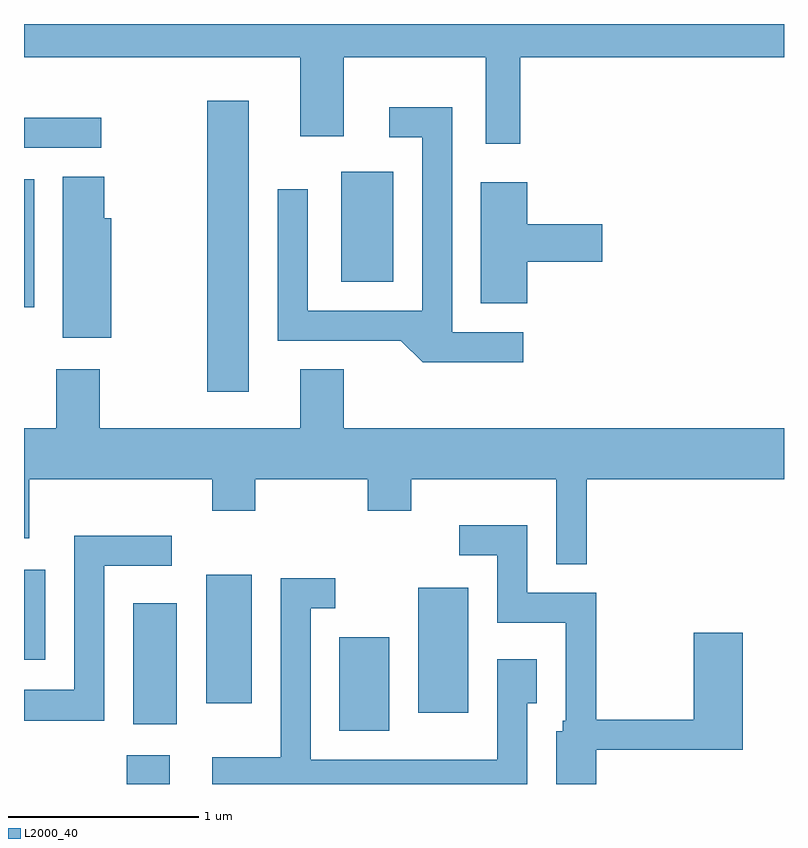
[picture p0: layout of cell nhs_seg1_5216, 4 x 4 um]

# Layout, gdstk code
import gdstk
lib = gdstk.Library(unit=1e-6, precision=1e-09)
def R(c, l, rs):  # rectangles x0, y0, x1, y1
    for r in rs: c.add(gdstk.rectangle(r[:2], r[2:], *l))
def P(c, l, *ps):  # polygons
    for p in ps: c.add(gdstk.Polygon(p, *l))
L2000_40 = (2000, 40)

nhs_seg1_5216 = lib.new_cell('nhs_seg1_5216')
R(nhs_seg1_5216, L2000_40, [(342.151,935.712,342.379,935.864), (343.271,935.991,343.534,936.484), (342.186,936.026,342.414,936.664), (343.686,936.086,343.949,936.744), (342.571,936.136,342.809,936.814), (341.611,936.366,341.724,936.839), (342.576,937.776,342.794,939.309), (341.611,938.221,341.664,938.894), (343.281,938.356,343.554,938.934), (341.611,939.061,342.018,939.219)])
P(nhs_seg1_5216, L2000_40, [(344.224,939.536),(345.611,939.536),(345.611,939.712),(341.611,939.712),(341.611,939.536),(343.066,939.536),(343.066,939.121),(343.294,939.121),(343.294,939.536),(344.041,939.536),(344.041,939.081),(344.224,939.081)],
  [(344.238,938.089),(343.864,938.089),(343.864,939.274),(343.533,939.274),(343.533,939.116),(343.706,939.116),(343.706,938.204),(343.104,938.204),(343.104,938.843),(342.946,938.843),(342.946,938.046),(343.594,938.046),(343.709,937.931),(344.238,937.931)],
  [(342.069,938.689),(342.034,938.689),(342.034,938.909),(341.816,938.909),(341.816,938.061),(342.069,938.061)],
  [(344.259,938.461),(344.654,938.461),(344.654,938.659),(344.259,938.659),(344.259,938.879),(344.016,938.879),(344.016,938.241),(344.259,938.241)],
  [(344.574,937.316),(345.611,937.316),(345.611,937.584),(343.294,937.584),(343.294,937.894),(343.066,937.894),(343.066,937.584),(342.009,937.584),(342.009,937.894),(341.781,937.894),(341.781,937.584),(341.611,937.584),(341.611,937.006),(341.639,937.006),(341.639,937.316),(342.601,937.316),(342.601,937.151),(342.829,937.151),(342.829,937.316),(343.421,937.316),(343.421,937.151),(343.649,937.151),(343.649,937.316),(344.411,937.316),(344.411,936.868),(344.574,936.868)],
  [(344.624,935.891),(345.394,935.891),(345.394,936.509),(345.136,936.509),(345.136,936.049),(344.624,936.049),(344.624,936.719),(344.259,936.719),(344.259,937.074),(343.903,937.074),(343.903,936.916),(344.101,936.916),(344.101,936.561),(344.461,936.561),(344.461,936.045),(344.446,936.045),(344.446,935.989),(344.411,935.989),(344.411,935.712),(344.624,935.712)],
  [(342.034,936.861),(342.388,936.861),(342.388,937.019),(341.876,937.019),(341.876,936.209),(341.611,936.209),(341.611,936.046),(342.034,936.046)],
  [(344.259,936.136),(344.309,936.136),(344.309,936.369),(344.101,936.369),(344.101,935.839),(343.119,935.839),(343.119,936.636),(343.248,936.636),(343.248,936.794),(342.961,936.794),(342.961,935.854),(342.601,935.854),(342.601,935.712),(344.259,935.712)])

lib.write_gds('nhs_seg1_5216.gds')
